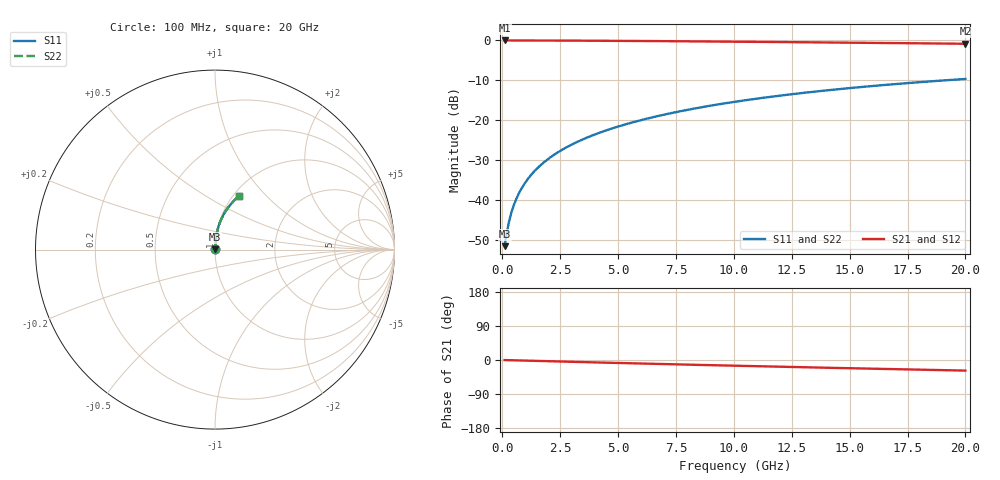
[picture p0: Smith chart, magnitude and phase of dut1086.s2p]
! Touchstone file exported from HFSS 2024.1.0
!  File:  C:/UserFiles/LocalFiles/RDL_TSV_Batchsim/temp_RDL_bottom_1086_1780053425.aedt
!  Generated:  07:19:44 PM May 29, 2026
!  Design:  RDL_bottom
!  Project:  temp_RDL_bottom_1086_1780053425
!  Setup:  Setup1
!  Solution:  Sweep
! Variables:
!  dtsv = 10.80580581um
!  hbump = 3um
!  htsv = 61.44um
!  ldown = 330.03um
!  lrdl = 100um
!  p = 40
!  p1 = 56.14um
!  rhole = 1um
!  t = 450um
!  tdown = 3.7um
!  trdl = 3.915915916um
!  wdown = 17.19um
!  wrdl = 20um
# GHz S MA R 50.000000
! Terminal data exported
! Port[1] = RDL1_T1
! Port[2] = RDL1_T2
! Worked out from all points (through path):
!   200 points, 100 MHz to 20 GHz, reference 50 ohm
!   highest |S21| = -0.02 dB at 100 MHz (marker M1); lowest = -0.8 dB at 20 GHz (marker M2)
!   group delay of S21, straight-line fit = 3.86 ps
!   lowest |S11| = -51.6 dB at 100 MHz (marker M3), VSWR 1.01, Z = 50.2 + j0.173 ohm
!   |S11| at or under -10 dB: start of sweep to 19.14 GHz
!   |S22| runs from -51.6 to -9.7 dB; largest |S21 - S12| = 5e-15
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0.1  0.002641 40.7  0.998 -0.2  0.998 -0.2  0.002641 40.7
! Gamma 0 0 0 0
! Port Impedance 50 0 50 0
0.2  0.003992 58.9  0.9979 -0.3  0.9979 -0.3  0.003992 58.9
0.3  0.005513 67.2  0.9978 -0.5  0.9978 -0.5  0.005513 67.2
0.4  0.007077 71.9  0.9977 -0.7  0.9977 -0.7  0.007077 71.9
0.5  0.008657 74.8  0.9977 -0.8  0.9977 -0.8  0.008657 74.8
0.6  0.01025 76.9  0.9976 -1.0  0.9976 -1.0  0.01025 76.9
0.8  0.01345 79.6  0.9974 -1.3  0.9974 -1.3  0.01345 79.6
1.1  0.01829 81.9  0.9971 -1.8  0.9971 -1.8  0.01829 81.9
1.5  0.02479 83.4  0.9965 -2.4  0.9965 -2.4  0.02479 83.5
1.8  0.0297 84.1  0.996 -2.9  0.996 -2.9  0.0297 84.1
2.1  0.03463 84.5  0.9955 -3.4  0.9955 -3.4  0.03463 84.5
2.7  0.04456 84.8  0.9941 -4.3  0.9941 -4.3  0.04456 84.8
3.5  0.0579 84.8  0.9919 -5.6  0.9919 -5.6  0.05791 84.8
4.2  0.06969 84.5  0.9896 -6.6  0.9896 -6.6  0.06969 84.5
5  0.08328 84.0  0.9867 -7.9  0.9867 -7.9  0.08328 84.0
5.9  0.09868 83.3  0.983 -9.2  0.983 -9.2  0.09869 83.3
6.8  0.1142 82.4  0.9791 -10.5  0.9791 -10.5  0.1142 82.4
8.4  0.1418 80.6  0.9717 -12.8  0.9717 -12.8  0.1418 80.6
10.1  0.1711 78.5  0.9632 -15.2  0.9632 -15.2  0.1711 78.5
13.4  0.2266 74.2  0.9457 -19.6  0.9457 -19.6  0.2266 74.2
16.7  0.2794 69.8  0.9269 -23.9  0.9269 -23.9  0.2794 69.9
20  0.3287 65.6  0.9071 -28.0  0.9071 -28.0  0.3288 65.6
